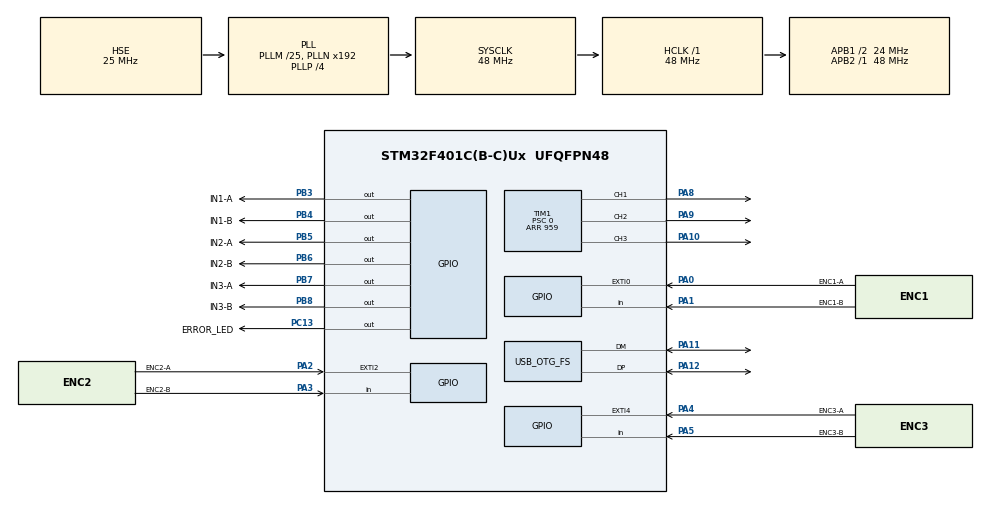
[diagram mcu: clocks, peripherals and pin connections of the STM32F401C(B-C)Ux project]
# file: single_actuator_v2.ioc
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Mcu.Family=STM32F4
Mcu.Name=STM32F401C(B-C)Ux
Mcu.Package=UFQFPN48
NVIC.EXTI0_IRQn=true\:0\:0\:true\:false\:true\:true\:true\:true
NVIC.EXTI2_IRQn=true\:0\:0\:true\:false\:true\:true\:true\:true
NVIC.EXTI4_IRQn=true\:0\:0\:true\:false\:true\:true\:true\:true
NVIC.OTG_FS_IRQn=true\:0\:0\:true\:false\:true\:false\:true\:true
NVIC.PriorityGroup=NVIC_PRIORITYGROUP_4
NVIC.TIM3_IRQn=true\:1\:0\:true\:false\:true\:true\:true\:true
NVIC.TIM4_IRQn=true\:1\:0\:true\:false\:true\:true\:true\:true
PA0-WKUP.GPIO_Label=ENC1-A
PA0-WKUP.GPIO_ModeDefaultEXTI=GPIO_MODE_IT_RISING_FALLING
PA0-WKUP.GPIO_PuPd=GPIO_NOPULL
PA0-WKUP.Signal=GPXTI0
PA1.GPIO_Label=ENC1-B
PA1.GPIO_PuPd=GPIO_NOPULL
PA1.Signal=GPIO_Input
PA10.Signal=S_TIM1_CH3
PA11.Mode=Device_Only
PA11.Signal=USB_OTG_FS_DM
PA12.Mode=Device_Only
PA12.Signal=USB_OTG_FS_DP
PA13.Mode=Serial_Wire
PA13.Signal=SYS_JTMS-SWDIO
PA14.Mode=Serial_Wire
PA14.Signal=SYS_JTCK-SWCLK
PA2.GPIO_Label=ENC2-A
PA2.GPIO_ModeDefaultEXTI=GPIO_MODE_IT_RISING_FALLING
PA2.GPIO_PuPd=GPIO_NOPULL
PA2.Signal=GPXTI2
PA3.GPIO_Label=ENC2-B
PA3.GPIO_PuPd=GPIO_NOPULL
PA3.Signal=GPIO_Input
PA4.GPIO_Label=ENC3-A
PA4.GPIO_ModeDefaultEXTI=GPIO_MODE_IT_RISING_FALLING
PA4.GPIO_PuPd=GPIO_NOPULL
PA4.Signal=GPXTI4
PA5.GPIO_Label=ENC3-B
PA5.GPIO_PuPd=GPIO_NOPULL
PA5.Signal=GPIO_Input
PA8.Signal=S_TIM1_CH1
PA9.Signal=S_TIM1_CH2
PB3.GPIO_Label=IN1-A
PB3.Signal=GPIO_Output
PB4.GPIO_Label=IN1-B
PB4.Signal=GPIO_Output
PB5.GPIO_Label=IN2-A
PB5.Signal=GPIO_Output
PB6.GPIO_Label=IN2-B
PB6.Signal=GPIO_Output
PB7.GPIO_Label=IN3-A
PB7.Signal=GPIO_Output
PB8.GPIO_Label=IN3-B
PB8.Signal=GPIO_Output
PC13-ANTI_TAMP.GPIO_Label=ERROR_LED
PC13-ANTI_TAMP.Signal=GPIO_Output
PH0\ -\ OSC_IN.Mode=HSE-External-Oscillator
PH0\ -\ OSC_IN.Signal=RCC_OSC_IN
PH1\ -\ OSC_OUT.Mode=HSE-External-Oscillator
PH1\ -\ OSC_OUT.Signal=RCC_OSC_OUT
ProjectManager.HeapSize=0x200
ProjectManager.StackSize=0x400
ProjectManager.TargetToolchain=STM32CubeIDE
RCC.48MHZClocksFreq_Value=48000000
RCC.AHBFreq_Value=48000000
RCC.APB1CLKDivider=RCC_HCLK_DIV2
RCC.APB1Freq_Value=24000000
RCC.APB1TimFreq_Value=48000000
RCC.APB2Freq_Value=48000000
RCC.APB2TimFreq_Value=48000000
RCC.CortexFreq_Value=48000000
RCC.HCLKFreq_Value=48000000
RCC.HSE_VALUE=25000000
RCC.HSI_VALUE=16000000
RCC.LSE_VALUE=32768
RCC.PLLM=25
RCC.PLLP=RCC_PLLP_DIV4
RCC.SYSCLKFreq_VALUE=48000000
RCC.SYSCLKSource=RCC_SYSCLKSOURCE_PLLCLK
RCC.VCOOutputFreq_Value=192000000
SH.S_TIM1_CH1.0=TIM1_CH1,PWM Generation1 CH1
SH.S_TIM1_CH2.0=TIM1_CH2,PWM Generation2 CH2
SH.S_TIM1_CH3.0=TIM1_CH3,PWM Generation3 CH3
TIM1.AutoReloadPreload=TIM_AUTORELOAD_PRELOAD_ENABLE
TIM1.Channel-PWM\ Generation1\ CH1=TIM_CHANNEL_1
TIM1.Channel-PWM\ Generation2\ CH2=TIM_CHANNEL_2
TIM1.Channel-PWM\ Generation3\ CH3=TIM_CHANNEL_3
TIM1.Period=959
TIM1.Prescaler=0
TIM3.AutoReloadPreload=TIM_AUTORELOAD_PRELOAD_ENABLE
TIM3.ClockDivision=TIM_CLOCKDIVISION_DIV1
TIM3.Period=47999
TIM3.Prescaler=200
TIM4.AutoReloadPreload=TIM_AUTORELOAD_PRELOAD_ENABLE
TIM4.Period=48000
USB_DEVICE.CLASS_NAME_FS=CDC
USB_DEVICE.VirtualMode=Cdc
USB_DEVICE.VirtualModeFS=Cdc_FS
USB_OTG_FS.VirtualMode=Device_Only
VP_TIM1_VS_ClockSourceINT.Mode=Internal
VP_TIM3_VS_ClockSourceINT.Mode=Internal
VP_TIM4_VS_ClockSourceINT.Mode=Internal
VP_USB_DEVICE_VS_USB_DEVICE_CDC_FS.Mode=CDC_FS
board=custom

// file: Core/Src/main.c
/* USER CODE BEGIN Header */
/**
  ******************************************************************************
  * @file           : main.c
  * @brief          : Main program body
  ******************************************************************************
  * @attention
  *
  * Copyright (c) 2023 STMicroelectronics.
  * All rights reserved.
  *
  * This software is licensed under terms that can be found in the LICENSE file
  * in the root directory of this software component.
  * If no LICENSE file comes with this software, it is provided AS-IS.
  *
  ******************************************************************************
  */
/* USER CODE END Header */
#include "main.h"
#include "usb_device.h"

/* USER CODE BEGIN Includes */
#include "math.h"
/* USER CODE END Includes */

/* USER CODE BEGIN PD */

/* IK and FK related constant definitions */
#define D_LOWER_TO_MAIN_POLE 	15.0071		// arms(1) in matlab code
#define L_LOWER_POLE 			24.9199		// arms(2) in matlab code
#define D_HIGHER_TO_MAIN_POLE 	20			// arms(3) in matlab code
#define L_HIGHER_POLE 			28			// arms(4) in matlab code

#define D_INNER_OFFSET 			18.4056358 // TO BE MEASURED AND CHANGED
#define D_MIDDLE_OFFSET 		23.6717606 // TO BE MEASURED AND CHANGED
#define D_OUTER_OFFSET		 	43.1740646 // TO BE MEASURED AND CHANGED

#define INNER_SET_LIMIT_MAX 	16.25 /* WHAT SHOULD BE THE LIMITS??? */
#define INNER_SET_LIMIT_MIN 	-11.75
#define MIDDLE_SET_LIMIT_MAX 	12
#define MIDDLE_SET_LIMIT_MIN 	-11
#define OUTER_SET_LIMIT_MAX 	12
#define OUTER_SET_LIMIT_MIN 	-4.80

#define INNER_GEAR_RATIO 		80
#define MIDDLE_GEAR_RATIO 		80*5
#define OUTER_GEAR_RATIO 		80
#define DUTY_PERCENTAGE_LIMIT 	0.95

#define	BUF_SIZE	8

/* USER CODE END PD */

TIM_HandleTypeDef htim1;
TIM_HandleTypeDef htim3;
TIM_HandleTypeDef htim4;

/* USER CODE BEGIN PV */
extern char error_code;
uint32_t PID_freq;
int16_t move_x = 0;
int16_t move_y = 0;
extern uint8_t usb_out[BUF_SIZE];

/* IK related variable definitions */
float theta_1_ref = 0;  // related to d_middle
// float theta_3_ref = 0;	// related to d_outer -- NOT REQUIRED
float d_inner_ref = 0;  // d3 in matlab code
float d_middle_ref = 0; // d1 in matlab code
float d_outer_ref = 0;  // d2 in matlab code

float X_ref = 0;

/* FK related variable definitions */
float theta_1_curr;
// float theta_3_curr;   // NOT REQUIRED
float d_outer_curr = 0;
float d_middle_curr = 0;
float d_inner_curr = 0;

float X_curr = 0;

/* Define and initialize the encoder and motor position variables (pulse counters) */
extern float enc_inner_pos_cm;
extern float enc_middle_pos_cm;
extern float enc_outer_pos_cm;

/* Position set */
extern float mot_inner_set_pos_cm;
extern float mot_middle_set_pos_cm;
extern float mot_outer_set_pos_cm;

extern int mot_inner_set_pos;
extern int mot_middle_set_pos;
extern int mot_outer_set_pos;

extern char error_message[BUF_SIZE];

/* USER CODE END PV */

void SystemClock_Config(void);
static void MX_GPIO_Init(void);
static void MX_TIM1_Init(void);
static void MX_TIM4_Init(void);
static void MX_TIM3_Init(void);
/* USER CODE BEGIN PFP */
void inverse_kinematics(float X_ref_temp);
void forward_kinematics();
float inverse_cos_theorem(float a, float b, float beta);
float forward_cos_theorem(float a, float b, float c);
extern uint8_t CDC_Transmit_FS(uint8_t* Buf, uint16_t Len);
extern int8_t CDC_Receive_FS(uint8_t* Buf, uint32_t Len);
/* USER CODE END PFP */

int main(void)
{

  /* MCU Configuration--------------------------------------------------------*/

  /* Reset of all peripherals, Initializes the Flash interface and the Systick. */
  HAL_Init();

  /* Configure the system clock */
  SystemClock_Config();

  /* Initialize all configured peripherals */
  MX_GPIO_Init();
  MX_USB_DEVICE_Init();
  MX_TIM1_Init();
  MX_TIM4_Init();
  MX_TIM3_Init();
  /* USER CODE BEGIN 2 */
  // Store the frequency of PID loop
  PID_freq = HAL_RCC_GetSysClockFreq()/htim4.Init.Period;

  HAL_TIM_Base_Start_IT(&htim4);
  HAL_TIM_Base_Start_IT(&htim1);
  HAL_TIM_Base_Start_IT(&htim3);

  HAL_TIM_PWM_Start(&htim1, TIM_CHANNEL_1);
  HAL_TIM_PWM_Start(&htim1, TIM_CHANNEL_2);
  HAL_TIM_PWM_Start(&htim1, TIM_CHANNEL_3);

  /* USER CODE END 2 */

  /* Infinite loop */
  while (1)
  {

  }
}

void SystemClock_Config(void)
{
  RCC_OscInitTypeDef RCC_OscInitStruct = {0};
  RCC_ClkInitTypeDef RCC_ClkInitStruct = {0};

  /** Configure the main internal regulator output voltage
  */
  __HAL_RCC_PWR_CLK_ENABLE();
  __HAL_PWR_VOLTAGESCALING_CONFIG(PWR_REGULATOR_VOLTAGE_SCALE2);

  /** Initializes the RCC Oscillators according to the specified parameters
  * in the RCC_OscInitTypeDef structure.
  */
  RCC_OscInitStruct.OscillatorType = RCC_OSCILLATORTYPE_HSE;
  RCC_OscInitStruct.HSEState = RCC_HSE_ON;
  RCC_OscInitStruct.PLL.PLLState = RCC_PLL_ON;
  RCC_OscInitStruct.PLL.PLLSource = RCC_PLLSOURCE_HSE;
  RCC_OscInitStruct.PLL.PLLM = 25;
  RCC_OscInitStruct.PLL.PLLN = 192;
  RCC_OscInitStruct.PLL.PLLP = RCC_PLLP_DIV4;
  RCC_OscInitStruct.PLL.PLLQ = 4;
  if (HAL_RCC_OscConfig(&RCC_OscInitStruct) != HAL_OK)
  {
    Error_Handler();
  }

  /** Initializes the CPU, AHB and APB buses clocks
  */
  RCC_ClkInitStruct.ClockType = RCC_CLOCKTYPE_HCLK|RCC_CLOCKTYPE_SYSCLK
                              |RCC_CLOCKTYPE_PCLK1|RCC_CLOCKTYPE_PCLK2;
  RCC_ClkInitStruct.SYSCLKSource = RCC_SYSCLKSOURCE_PLLCLK;
  RCC_ClkInitStruct.AHBCLKDivider = RCC_SYSCLK_DIV1;
  RCC_ClkInitStruct.APB1CLKDivider = RCC_HCLK_DIV2;
  RCC_ClkInitStruct.APB2CLKDivider = RCC_HCLK_DIV1;

  if (HAL_RCC_ClockConfig(&RCC_ClkInitStruct, FLASH_LATENCY_1) != HAL_OK)
  {
    Error_Handler();
  }
}

static void MX_TIM1_Init(void)
{

  TIM_ClockConfigTypeDef sClockSourceConfig = {0};
  TIM_MasterConfigTypeDef sMasterConfig = {0};
  TIM_OC_InitTypeDef sConfigOC = {0};
  TIM_BreakDeadTimeConfigTypeDef sBreakDeadTimeConfig = {0};

  htim1.Instance = TIM1;
  htim1.Init.Prescaler = 0;
  htim1.Init.CounterMode = TIM_COUNTERMODE_UP;
  htim1.Init.Period = 959;
  htim1.Init.ClockDivision = TIM_CLOCKDIVISION_DIV1;
  htim1.Init.RepetitionCounter = 0;
  htim1.Init.AutoReloadPreload = TIM_AUTORELOAD_PRELOAD_ENABLE;
  if (HAL_TIM_Base_Init(&htim1) != HAL_OK)
  {
    Error_Handler();
  }
  sClockSourceConfig.ClockSource = TIM_CLOCKSOURCE_INTERNAL;
  if (HAL_TIM_ConfigClockSource(&htim1, &sClockSourceConfig) != HAL_OK)
  {
    Error_Handler();
  }
  if (HAL_TIM_PWM_Init(&htim1) != HAL_OK)
  {
    Error_Handler();
  }
  sMasterConfig.MasterOutputTrigger = TIM_TRGO_RESET;
  sMasterConfig.MasterSlaveMode = TIM_MASTERSLAVEMODE_DISABLE;
  if (HAL_TIMEx_MasterConfigSynchronization(&htim1, &sMasterConfig) != HAL_OK)
  {
    Error_Handler();
  }
  sConfigOC.OCMode = TIM_OCMODE_PWM1;
  sConfigOC.Pulse = 0;
  sConfigOC.OCPolarity = TIM_OCPOLARITY_HIGH;
  sConfigOC.OCNPolarity = TIM_OCNPOLARITY_HIGH;
  sConfigOC.OCFastMode = TIM_OCFAST_DISABLE;
  sConfigOC.OCIdleState = TIM_OCIDLESTATE_RESET;
  sConfigOC.OCNIdleState = TIM_OCNIDLESTATE_RESET;
  if (HAL_TIM_PWM_ConfigChannel(&htim1, &sConfigOC, TIM_CHANNEL_1) != HAL_OK)
  {
    Error_Handler();
  }
  if (HAL_TIM_PWM_ConfigChannel(&htim1, &sConfigOC, TIM_CHANNEL_2) != HAL_OK)
  {
    Error_Handler();
  }
  if (HAL_TIM_PWM_ConfigChannel(&htim1, &sConfigOC, TIM_CHANNEL_3) != HAL_OK)
  {
    Error_Handler();
  }
  sBreakDeadTimeConfig.OffStateRunMode = TIM_OSSR_DISABLE;
  sBreakDeadTimeConfig.OffStateIDLEMode = TIM_OSSI_DISABLE;
  sBreakDeadTimeConfig.LockLevel = TIM_LOCKLEVEL_OFF;
  sBreakDeadTimeConfig.DeadTime = 0;
  sBreakDeadTimeConfig.BreakState = TIM_BREAK_DISABLE;
  sBreakDeadTimeConfig.BreakPolarity = TIM_BREAKPOLARITY_HIGH;
  sBreakDeadTimeConfig.AutomaticOutput = TIM_AUTOMATICOUTPUT_DISABLE;
  if (HAL_TIMEx_ConfigBreakDeadTime(&htim1, &sBreakDeadTimeConfig) != HAL_OK)
  {
    Error_Handler();
  }
  HAL_TIM_MspPostInit(&htim1);

}

static void MX_TIM3_Init(void)
{

  TIM_ClockConfigTypeDef sClockSourceConfig = {0};
  TIM_MasterConfigTypeDef sMasterConfig = {0};

  htim3.Instance = TIM3;
  htim3.Init.Prescaler = 200;
  htim3.Init.CounterMode = TIM_COUNTERMODE_UP;
  htim3.Init.Period = 47999;
  htim3.Init.ClockDivision = TIM_CLOCKDIVISION_DIV1;
  htim3.Init.AutoReloadPreload = TIM_AUTORELOAD_PRELOAD_ENABLE;
  if (HAL_TIM_Base_Init(&htim3) != HAL_OK)
  {
    Error_Handler();
  }
  sClockSourceConfig.ClockSource = TIM_CLOCKSOURCE_INTERNAL;
  if (HAL_TIM_ConfigClockSource(&htim3, &sClockSourceConfig) != HAL_OK)
  {
    Error_Handler();
  }
  sMasterConfig.MasterOutputTrigger = TIM_TRGO_RESET;
  sMasterConfig.MasterSlaveMode = TIM_MASTERSLAVEMODE_DISABLE;
  if (HAL_TIMEx_MasterConfigSynchronization(&htim3, &sMasterConfig) != HAL_OK)
  {
    Error_Handler();
  }

}

static void MX_TIM4_Init(void)
{

  TIM_ClockConfigTypeDef sClockSourceConfig = {0};
  TIM_MasterConfigTypeDef sMasterConfig = {0};

  htim4.Instance = TIM4;
  htim4.Init.Prescaler = 0;
  htim4.Init.CounterMode = TIM_COUNTERMODE_UP;
  htim4.Init.Period = 48000;
  htim4.Init.ClockDivision = TIM_CLOCKDIVISION_DIV1;
  htim4.Init.AutoReloadPreload = TIM_AUTORELOAD_PRELOAD_ENABLE;
  if (HAL_TIM_Base_Init(&htim4) != HAL_OK)
  {
    Error_Handler();
  }
  sClockSourceConfig.ClockSource = TIM_CLOCKSOURCE_INTERNAL;
  if (HAL_TIM_ConfigClockSource(&htim4, &sClockSourceConfig) != HAL_OK)
  {
    Error_Handler();
  }
  sMasterConfig.MasterOutputTrigger = TIM_TRGO_RESET;
  sMasterConfig.MasterSlaveMode = TIM_MASTERSLAVEMODE_DISABLE;
  if (HAL_TIMEx_MasterConfigSynchronization(&htim4, &sMasterConfig) != HAL_OK)
  {
    Error_Handler();
  }

}

static void MX_GPIO_Init(void)
{
  GPIO_InitTypeDef GPIO_InitStruct = {0};

  /* GPIO Ports Clock Enable */
  __HAL_RCC_GPIOC_CLK_ENABLE();
  __HAL_RCC_GPIOH_CLK_ENABLE();
  __HAL_RCC_GPIOA_CLK_ENABLE();
  __HAL_RCC_GPIOB_CLK_ENABLE();

  /*Configure GPIO pin Output Level */
  HAL_GPIO_WritePin(ERROR_LED_GPIO_Port, ERROR_LED_Pin, GPIO_PIN_RESET);

  /*Configure GPIO pin Output Level */
  HAL_GPIO_WritePin(GPIOB, IN1_A_Pin|IN1_B_Pin|IN2_A_Pin|IN2_B_Pin
                          |IN3_A_Pin|IN3_B_Pin, GPIO_PIN_RESET);

  /*Configure GPIO pin : ERROR_LED_Pin */
  GPIO_InitStruct.Pin = ERROR_LED_Pin;
  GPIO_InitStruct.Mode = GPIO_MODE_OUTPUT_PP;
  GPIO_InitStruct.Pull = GPIO_NOPULL;
  GPIO_InitStruct.Speed = GPIO_SPEED_FREQ_LOW;
  HAL_GPIO_Init(ERROR_LED_GPIO_Port, &GPIO_InitStruct);

  /*Configure GPIO pins : ENC1_A_Pin ENC2_A_Pin ENC3_A_Pin */
  GPIO_InitStruct.Pin = ENC1_A_Pin|ENC2_A_Pin|ENC3_A_Pin;
  GPIO_InitStruct.Mode = GPIO_MODE_IT_RISING_FALLING;
  GPIO_InitStruct.Pull = GPIO_NOPULL;
  HAL_GPIO_Init(GPIOA, &GPIO_InitStruct);

  /*Configure GPIO pins : ENC1_B_Pin ENC2_B_Pin ENC3_B_Pin */
  GPIO_InitStruct.Pin = ENC1_B_Pin|ENC2_B_Pin|ENC3_B_Pin;
  GPIO_InitStruct.Mode = GPIO_MODE_INPUT;
  GPIO_InitStruct.Pull = GPIO_NOPULL;
  HAL_GPIO_Init(GPIOA, &GPIO_InitStruct);

  /*Configure GPIO pins : IN1_A_Pin IN1_B_Pin IN2_A_Pin IN2_B_Pin
                           IN3_A_Pin IN3_B_Pin */
  GPIO_InitStruct.Pin = IN1_A_Pin|IN1_B_Pin|IN2_A_Pin|IN2_B_Pin
                          |IN3_A_Pin|IN3_B_Pin;
  GPIO_InitStruct.Mode = GPIO_MODE_OUTPUT_PP;
  GPIO_InitStruct.Pull = GPIO_NOPULL;
  GPIO_InitStruct.Speed = GPIO_SPEED_FREQ_LOW;
  HAL_GPIO_Init(GPIOB, &GPIO_InitStruct);

  /* EXTI interrupt init*/
  HAL_NVIC_SetPriority(EXTI0_IRQn, 0, 0);
  HAL_NVIC_EnableIRQ(EXTI0_IRQn);

  HAL_NVIC_SetPriority(EXTI2_IRQn, 0, 0);
  HAL_NVIC_EnableIRQ(EXTI2_IRQn);

  HAL_NVIC_SetPriority(EXTI4_IRQn, 0, 0);
  HAL_NVIC_EnableIRQ(EXTI4_IRQn);

}

/* USER CODE BEGIN 4 */
void inverse_kinematics(float X_ref_temp){

	// Determine the two angles and one length
	d_outer_ref = sqrt(X_ref_temp*X_ref_temp + 20*X_ref_temp + 1864);        // in cm
	theta_1_ref = 2*atan( (d_outer_ref + 42)/(X_ref_temp + 10) );  // in radians
	// theta_3_ref = M_PI + theta_1_ref;                      // in radians -- NOT REQUIRED

	// Apply the cos theorem
	d_middle_ref = inverse_cos_theorem(D_LOWER_TO_MAIN_POLE, L_LOWER_POLE, (theta_1_ref - M_PI_2));
	d_inner_ref = inverse_cos_theorem(D_HIGHER_TO_MAIN_POLE, L_HIGHER_POLE, (theta_1_ref - M_PI_2));

	d_inner_ref = d_outer_ref - d_inner_ref;

	// Determine motor position reference values (everything in cm)
	mot_inner_set_pos_cm = d_inner_ref - D_INNER_OFFSET;
	mot_middle_set_pos_cm = d_middle_ref - D_MIDDLE_OFFSET;
	mot_outer_set_pos_cm = d_outer_ref - D_OUTER_OFFSET;

	if ((mot_inner_set_pos_cm > INNER_SET_LIMIT_MAX) || (mot_inner_set_pos_cm < INNER_SET_LIMIT_MIN)) error_code ='r';
	else error_code = 0;
	if ((mot_middle_set_pos_cm > MIDDLE_SET_LIMIT_MAX) || (mot_middle_set_pos_cm < MIDDLE_SET_LIMIT_MIN)) error_code ='r';
	else error_code = 0;
	if ((mot_outer_set_pos_cm > OUTER_SET_LIMIT_MAX) || (mot_outer_set_pos_cm < OUTER_SET_LIMIT_MIN)) error_code ='r';
	else error_code = 0;

	// Determine motor position reference values (everything in cm)
	mot_inner_set_pos = (int)(mot_inner_set_pos_cm*INNER_GEAR_RATIO);
	mot_middle_set_pos = (int)(mot_middle_set_pos_cm*MIDDLE_GEAR_RATIO);
	mot_outer_set_pos = (int)(mot_outer_set_pos_cm*OUTER_GEAR_RATIO);
}

void forward_kinematics(){
	// Find d_middle_curr & d_inner_curr
	d_middle_curr = enc_middle_pos_cm + D_MIDDLE_OFFSET;
	d_outer_curr = enc_outer_pos_cm + D_OUTER_OFFSET;

	// Find theta_1_curr using cos theorem
	theta_1_curr = forward_cos_theorem(D_LOWER_TO_MAIN_POLE, L_LOWER_POLE, d_middle_curr);

	// Update X_curr from the values
	X_curr = d_outer_curr*sin(theta_1_curr) - 10;
}

float inverse_cos_theorem(float a, float b, float beta){
	// Given a, b, and the angle beta; find the other side length of the triangle
	return sqrt( (b*b - a*a*sin(beta)*sin(beta)) ) + a*cos(beta);
}

float forward_cos_theorem(float a, float b, float c){
	// Given a, b, and c; find the angle between a and c, then find theta_1
	return M_PI_2 + acos( (a*a + c*c - b*b)/(2*a*c) );
}
/* USER CODE END 4 */

void Error_Handler(void)
{
  /* USER CODE BEGIN Error_Handler_Debug */
  /* User can add his own implementation to report the HAL error return state */
  __disable_irq();
  while (1)
  {
	  // EYVAH
	  memcpy(&usb_out, &error_message, sizeof(usb_out));
	  CDC_Transmit_FS(usb_out, sizeof(usb_out));
  }
  /* USER CODE END Error_Handler_Debug */
}
